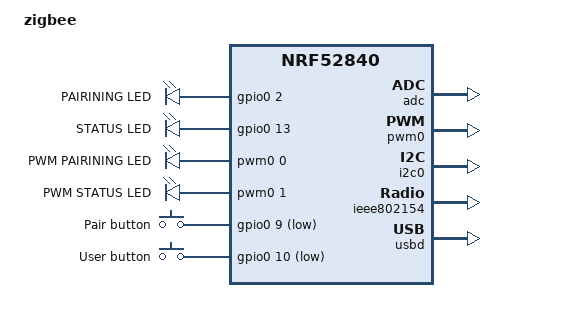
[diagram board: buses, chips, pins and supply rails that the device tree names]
/*
 * Copyright (c) 2023 Jan Gnip
 *
 * SPDX-License-Identifier: Apache-2.0
 */

/dts-v1/;
#include <nordic/nrf52840_qiaa.dtsi>
#include "zigbee-pinctrl.dtsi"

/ {
	model = "zigbee";
	compatible = "zigbee";

	chosen {
		zephyr,console = &cdc_acm_uart0;
		ncs,zboss-trace-uart = &cdc_acm_uart0;
		zephyr,shell-uart = &cdc_acm_uart0;
		zephyr,uart-mcumgr = &cdc_acm_uart0;
		zephyr,bt-mon-uart = &cdc_acm_uart0;
		zephyr,bt-c2h-uart = &cdc_acm_uart0;
		zephyr,sram = &sram0;
		zephyr,flash = &flash0;
		zephyr,code-partition = &slot0_partition;
		zephyr,ieee802154 = &ieee802154;
	};

	leds {
		compatible = "gpio-leds";
		led0: led_0 {
			gpios = <&gpio0 2 GPIO_ACTIVE_HIGH>;
			label = "PAIRINING LED";
		};
		led1: led_1 {
			gpios = <&gpio0 13 GPIO_ACTIVE_HIGH>;
			label = "STATUS LED";
		};
	};

	pwmleds {
		compatible = "pwm-leds";
		pwm_led0: pwm_led_0 {
			pwms = <&pwm0 0 PWM_MSEC(20) PWM_POLARITY_NORMAL>;
			label = "PWM PAIRINING LED";
		};
		pwm_led1: pwm_led_1 {
			pwms = <&pwm0 1 PWM_MSEC(20) PWM_POLARITY_NORMAL>;
			label = "PWM STATUS LED";
		};
	};

	buttons {
		compatible = "gpio-keys";
		button0: button_0 {
			gpios = <&gpio0 9 (GPIO_PULL_UP | GPIO_ACTIVE_LOW)>;
			label = "Pair button";
		};
		button1: button_1 {
			gpios = <&gpio0 10 (GPIO_PULL_UP | GPIO_ACTIVE_LOW)>;
			label = "User button";
		};
	};

	aliases {
		pair-btn = &button0;
		user-btn = &button1;
		pair-led = &led0;
		status-led = &led1;
	};

};

&adc {/* ADC */
	status = "okay";
};

&gpiote {
	status = "okay";
};

&gpio0 {
	status = "okay";
};

&gpio1 {
	status = "okay";
};

&pwm0 {
	status = "okay";
	pinctrl-0 = <&pwm0_default>;
	pinctrl-1 = <&pwm0_sleep>;
	pinctrl-names = "default", "sleep";
};

&uart0 {
	status = "disabled";
};

&uart1 {
	status = "disabled";
};

&i2c0 {
	compatible = "nordic,nrf-twi";
	status = "okay";
	pinctrl-0 = <&i2c0_default>;
	pinctrl-1 = <&i2c0_sleep>;
	pinctrl-names = "default", "sleep";
};

&i2c1 {
	status = "disabled";
};

&spi0 {
	status = "disabled";
};

&spi1 {
	status = "disabled";
};

&spi2 {
	status = "disabled";
};

&spi3 {
	status = "disabled";
};

&ieee802154 {
	status = "okay";
};

&flash0 {
	/*
	 * For more information, see:
	 * http: //docs.zephyrproject.org/latest/guides/dts/index.html#flash-partitions
	 */
	partitions {
		compatible = "fixed-partitions";
		#address-cells = <1>;
		#size-cells = <1>;

		boot_partition: partition@0 {
			label = "mcuboot";
			reg = <0x000000000 0x0000C000>;
		};
		slot0_partition: partition@c000 {
			label = "image-0";
			reg = <0x0000C000 0x00067000>;
		};
		slot1_partition: partition@73000 {
			label = "image-1";
			reg = <0x00073000 0x00067000>;
		};
		scratch_partition: partition@da000 {
			label = "image-scratch";
			reg = <0x000da000 0x0001e000>;
		};

		/*
		 * The flash starting at 0x000f8000 and ending at
		 * 0x000fffff is reserved for use by the application.
		 */

		/* Storage partition will be used by FCB/NFFS/NVS if enabled. */
		storage_partition: partition@f8000 {
			label = "storage";
			reg = <0x000f8000 0x00008000>;
		};
	};
};

zephyr_udc0: &usbd {
	compatible = "nordic,nrf-usbd";
	status = "okay";

	cdc_acm_uart0: cdc_acm_uart0 {
		compatible = "zephyr,cdc-acm-uart";
		label = "CDC_ACM_0";
	};
};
